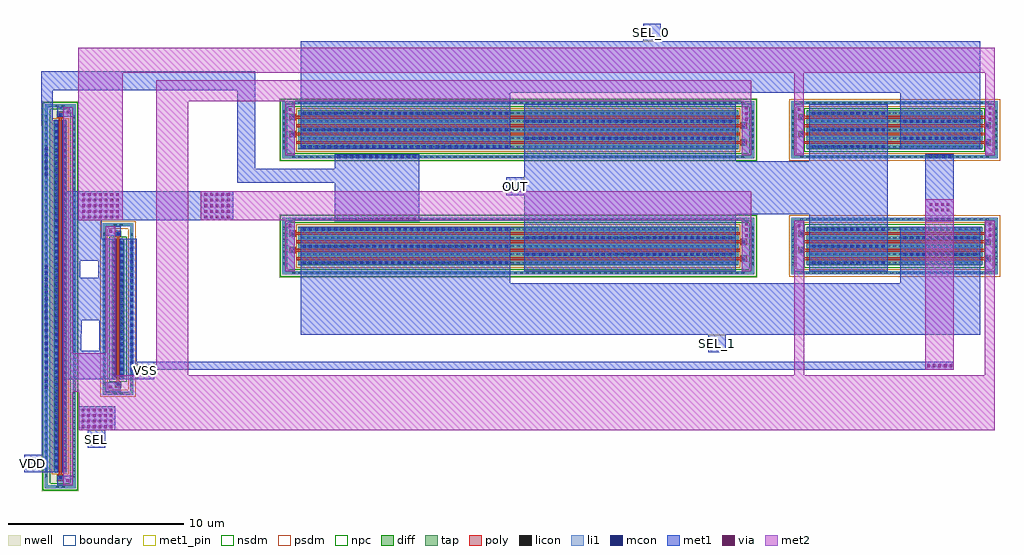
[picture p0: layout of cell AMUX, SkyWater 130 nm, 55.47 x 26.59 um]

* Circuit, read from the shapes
.subckt AMUX OUT SEL SEL_0 SEL_1 VDD VSS
XM1 VSS SEL n1 VSS sky130_fd_pr__nfet_01v8 w=8 l=0.15
XM2 SEL_1 SEL OUT VSS sky130_fd_pr__nfet_01v8 w=10 l=0.15 m=4
XM3 SEL_0 n1 OUT VSS sky130_fd_pr__nfet_01v8 w=10 l=0.15 m=4
XM4 n1 SEL VDD VDD sky130_fd_pr__pfet_01v8 w=20 l=0.15
XM5 OUT n1 SEL_1 VDD sky130_fd_pr__pfet_01v8 w=25 l=0.15 m=4
XM6 OUT SEL SEL_0 VDD sky130_fd_pr__pfet_01v8 w=25 l=0.15 m=4
.ends

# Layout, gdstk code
from math import pi, radians
import gdstk
lib = gdstk.Library(unit=1e-6, precision=1e-09)
def R(c, l, rs):  # rectangles x0, y0, x1, y1
    for r in rs: c.add(gdstk.rectangle(r[:2], r[2:], *l))
def A(c, l, x, y, w, h, nx, ny, dx, dy):  # array of equal rectangles
    R(c, l, [(x+i*dx, y+j*dy, x+i*dx+w, y+j*dy+h) for i in range(nx) for j in range(ny)])
nwell = (64, 20)
diff = (65, 20)
tap = (65, 44)
poly = (66, 20)
licon = (66, 44)
li1 = (67, 20)
mcon = (67, 44)
met1_pin = (68, 16)
met1 = (68, 20)
via = (68, 44)
met2 = (69, 20)
nsdm = (93, 44)
psdm = (94, 20)
npc = (95, 20)
boundary = (235, 4)

sky130_fd_pr__nfet_01v8_ = lib.new_cell('sky130_fd_pr__nfet_01v8_LYUGW3')
R(sky130_fd_pr__nfet_01v8_, diff, [(-1.105,-5,1.105,5)])
R(sky130_fd_pr__nfet_01v8_, tap, [(-1.615,-5.87,1.615,-5.7), (-1.615,-5.7,-1.445,5.7), (1.445,-5.7,1.615,5.7), (-1.615,5.7,1.615,5.87)])
R(sky130_fd_pr__nfet_01v8_, poly, [(-0.885,-5.44,-0.555,-5.11), (0.075,-5.44,0.405,-5.11), (-0.315,-5.13,-0.165,5.11), (0.645,-5.13,0.795,5.11), (-0.795,-5.11,-0.645,5.13), (0.165,-5.11,0.315,5.13), (-0.405,5.11,-0.075,5.44), (0.555,5.11,0.885,5.44)])
A(sky130_fd_pr__nfet_01v8_, licon, -1.105, -5.87, 0.17, 0.17, 7, 2, 0.34, 11.57)
A(sky130_fd_pr__nfet_01v8_, licon, -1.615, -5.355, 0.17, 0.17, 1, 32, 0, 0.34)
A(sky130_fd_pr__nfet_01v8_, licon, 1.445, -5.355, 0.17, 0.17, 1, 32, 0, 0.34)
A(sky130_fd_pr__nfet_01v8_, licon, -1.045, -4.845, 0.17, 0.17, 5, 29, 0.48, 0.34)
R(sky130_fd_pr__nfet_01v8_, licon, [(-0.805,-5.36,-0.635,-5.19), (0.155,-5.36,0.325,-5.19), (-0.325,5.19,-0.155,5.36), (0.635,5.19,0.805,5.36)])
A(sky130_fd_pr__nfet_01v8_, li1, -1.045, -5.02, 0.17, 10.04, 5, 1, 0.48, 0)
R(sky130_fd_pr__nfet_01v8_, li1, [(-1.615,-5.87,1.615,-5.7), (-1.615,-5.7,-1.445,5.7), (1.445,-5.7,1.615,5.7), (-0.885,-5.36,-0.555,-5.19), (0.075,-5.36,0.405,-5.19), (-0.405,5.19,-0.075,5.36), (0.555,5.19,0.885,5.36), (-1.615,5.7,1.615,5.87)])
R(sky130_fd_pr__nfet_01v8_, mcon, [(-0.805,-5.36,-0.635,-5.19), (0.155,-5.36,0.325,-5.19), (-0.325,5.19,-0.155,5.36), (0.635,5.19,0.805,5.36)])
R(sky130_fd_pr__nfet_01v8_, met1, [(-0.865,-5.39,-0.575,-5.16), (0.095,-5.39,0.385,-5.16), (-0.385,5.16,-0.095,5.39), (0.575,5.16,0.865,5.39)])
R(sky130_fd_pr__nfet_01v8_, nsdm, [(-1.23,-5.125,1.23,5.125)])
R(sky130_fd_pr__nfet_01v8_, psdm, [(-1.74,-5.995,1.74,-5.575), (-1.74,-5.575,-1.32,5.575), (1.32,-5.575,1.74,5.575), (-1.74,5.575,1.74,5.995)])
R(sky130_fd_pr__nfet_01v8_, npc, [(-0.905,-5.46,-0.535,-5.09), (0.055,-5.46,0.425,-5.09), (-0.425,5.09,-0.055,5.46), (0.535,5.09,0.905,5.46)])
R(sky130_fd_pr__nfet_01v8_, boundary, [(-1.53,-5.785,1.53,5.785)])

sky130_fd_pr__pfet_01v8_ = lib.new_cell('sky130_fd_pr__pfet_01v8_48JMJG')
R(sky130_fd_pr__pfet_01v8_, nwell, [(-1.795,-13.595,1.795,13.595)])
R(sky130_fd_pr__pfet_01v8_, diff, [(-1.105,-12.5,1.105,12.5)])
R(sky130_fd_pr__pfet_01v8_, tap, [(-1.615,-13.415,1.615,-13.245), (-1.615,-13.245,-1.445,13.245), (1.445,-13.245,1.615,13.245), (-1.615,13.245,1.615,13.415)])
R(sky130_fd_pr__pfet_01v8_, poly, [(-0.885,-12.985,-0.555,-12.655), (0.075,-12.985,0.405,-12.655), (-0.795,-12.655,-0.645,12.63), (0.165,-12.655,0.315,12.63), (-0.315,-12.63,-0.165,12.655), (0.645,-12.63,0.795,12.655), (-0.405,12.655,-0.075,12.985), (0.555,12.655,0.885,12.985)])
A(sky130_fd_pr__pfet_01v8_, licon, -1.105, -13.415, 0.17, 0.17, 7, 2, 0.34, 26.66)
A(sky130_fd_pr__pfet_01v8_, licon, -1.615, -12.835, 0.17, 0.17, 1, 76, 0, 0.34)
A(sky130_fd_pr__pfet_01v8_, licon, 1.445, -12.835, 0.17, 0.17, 1, 76, 0, 0.34)
A(sky130_fd_pr__pfet_01v8_, licon, -1.045, -12.325, 0.17, 0.17, 5, 73, 0.48, 0.34)
R(sky130_fd_pr__pfet_01v8_, licon, [(-0.805,-12.905,-0.635,-12.735), (0.155,-12.905,0.325,-12.735), (-0.325,12.735,-0.155,12.905), (0.635,12.735,0.805,12.905)])
A(sky130_fd_pr__pfet_01v8_, li1, -1.045, -12.52, 0.17, 25.04, 5, 1, 0.48, 0)
R(sky130_fd_pr__pfet_01v8_, li1, [(-1.615,-13.415,1.615,-13.245), (-1.615,-13.245,-1.445,13.245), (1.445,-13.245,1.615,13.245), (-0.885,-12.905,-0.555,-12.735), (0.075,-12.905,0.405,-12.735), (-0.405,12.735,-0.075,12.905), (0.555,12.735,0.885,12.905), (-1.615,13.245,1.615,13.415)])
R(sky130_fd_pr__pfet_01v8_, mcon, [(-0.805,-12.905,-0.635,-12.735), (0.155,-12.905,0.325,-12.735), (-0.325,12.735,-0.155,12.905), (0.635,12.735,0.805,12.905)])
R(sky130_fd_pr__pfet_01v8_, met1, [(-0.865,-12.935,-0.575,-12.705), (0.095,-12.935,0.385,-12.705), (-0.385,12.705,-0.095,12.935), (0.575,12.705,0.865,12.935)])
R(sky130_fd_pr__pfet_01v8_, nsdm, [(-1.74,-13.54,1.74,-13.12), (-1.74,-13.12,-1.32,13.12), (1.32,-13.12,1.74,13.12), (-1.74,13.12,1.74,13.54)])
R(sky130_fd_pr__pfet_01v8_, psdm, [(-1.23,-12.625,1.23,12.625)])
R(sky130_fd_pr__pfet_01v8_, npc, [(-0.905,-13.005,-0.535,-12.635), (0.055,-13.005,0.425,-12.635), (-0.425,12.635,-0.055,13.005), (0.535,12.635,0.905,13.005)])
R(sky130_fd_pr__pfet_01v8_, boundary, [(-1.53,-13.33,1.53,13.33)])

c_sky130_fd_pr__pfet_01v8_ = lib.new_cell('sky130_fd_pr__pfet_01v8_DMZPWZ')
R(c_sky130_fd_pr__pfet_01v8_, nwell, [(-1.055,-11.095,1.055,11.095)])
R(c_sky130_fd_pr__pfet_01v8_, diff, [(-0.365,-10,0.365,10)])
R(c_sky130_fd_pr__pfet_01v8_, tap, [(-0.875,-10.915,0.875,-10.745), (-0.875,-10.745,-0.705,10.745), (0.705,-10.745,0.875,10.745), (-0.875,10.745,0.875,10.915)])
R(c_sky130_fd_pr__pfet_01v8_, poly, [(-0.165,-10.485,0.165,-10.155), (-0.075,-10.155,0.075,10.155), (-0.165,10.155,0.165,10.485)])
A(c_sky130_fd_pr__pfet_01v8_, licon, -0.875, -10.285, 0.17, 0.17, 1, 61, 0, 0.34)
A(c_sky130_fd_pr__pfet_01v8_, licon, 0.705, -10.285, 0.17, 0.17, 1, 61, 0, 0.34)
A(c_sky130_fd_pr__pfet_01v8_, licon, -0.305, -9.775, 0.17, 0.17, 1, 58, 0, 0.34)
A(c_sky130_fd_pr__pfet_01v8_, licon, 0.135, -9.775, 0.17, 0.17, 1, 58, 0, 0.34)
R(c_sky130_fd_pr__pfet_01v8_, licon, [(-0.255,-10.915,-0.085,-10.745), (0.085,-10.915,0.255,-10.745), (-0.085,-10.405,0.085,-10.235), (-0.085,10.235,0.085,10.405), (-0.255,10.745,-0.085,10.915), (0.085,10.745,0.255,10.915)])
R(c_sky130_fd_pr__pfet_01v8_, li1, [(-0.875,-10.915,0.875,-10.745), (-0.875,-10.745,-0.705,10.745), (0.705,-10.745,0.875,10.745), (-0.165,-10.405,0.165,-10.235), (-0.305,-10.02,-0.135,10.02), (0.135,-10.02,0.305,10.02), (-0.165,10.235,0.165,10.405), (-0.875,10.745,0.875,10.915)])
A(c_sky130_fd_pr__pfet_01v8_, mcon, -0.305, -9.805, 0.17, 0.17, 1, 55, 0, 0.36)
A(c_sky130_fd_pr__pfet_01v8_, mcon, 0.135, -9.805, 0.17, 0.17, 1, 55, 0, 0.36)
R(c_sky130_fd_pr__pfet_01v8_, mcon, [(-0.085,-10.405,0.085,-10.235), (-0.085,10.235,0.085,10.405)])
R(c_sky130_fd_pr__pfet_01v8_, met1, [(-0.145,-10.435,0.145,-10.205), (-0.335,-10,-0.105,10), (0.105,-10,0.335,10), (-0.145,10.205,0.145,10.435)])
R(c_sky130_fd_pr__pfet_01v8_, nsdm, [(-1,-11.04,1,-10.62), (-1,-10.62,-0.58,10.62), (0.58,-10.62,1,10.62), (-1,10.62,1,11.04)])
R(c_sky130_fd_pr__pfet_01v8_, psdm, [(-0.49,-10.125,0.49,10.125)])
R(c_sky130_fd_pr__pfet_01v8_, npc, [(-0.185,-10.505,0.185,-10.135), (-0.185,10.135,0.185,10.505)])
R(c_sky130_fd_pr__pfet_01v8_, boundary, [(-0.79,-10.83,0.79,10.83)])

c_sky130_fd_pr__nfet_01v8_ = lib.new_cell('sky130_fd_pr__nfet_01v8_UT29BE')
R(c_sky130_fd_pr__nfet_01v8_, diff, [(-0.365,-4,0.365,4)])
R(c_sky130_fd_pr__nfet_01v8_, tap, [(-0.875,-4.87,0.875,-4.7), (-0.875,-4.7,-0.705,4.7), (0.705,-4.7,0.875,4.7), (-0.875,4.7,0.875,4.87)])
R(c_sky130_fd_pr__nfet_01v8_, poly, [(-0.165,-4.44,0.165,-4.11), (-0.075,-4.11,0.075,4.11), (-0.165,4.11,0.165,4.44)])
A(c_sky130_fd_pr__nfet_01v8_, licon, -0.875, -4.335, 0.17, 0.17, 1, 26, 0, 0.34)
A(c_sky130_fd_pr__nfet_01v8_, licon, 0.705, -4.335, 0.17, 0.17, 1, 26, 0, 0.34)
A(c_sky130_fd_pr__nfet_01v8_, licon, -0.305, -3.825, 0.17, 0.17, 1, 23, 0, 0.34)
A(c_sky130_fd_pr__nfet_01v8_, licon, 0.135, -3.825, 0.17, 0.17, 1, 23, 0, 0.34)
R(c_sky130_fd_pr__nfet_01v8_, licon, [(-0.255,-4.87,-0.085,-4.7), (0.085,-4.87,0.255,-4.7), (-0.085,-4.36,0.085,-4.19), (-0.085,4.19,0.085,4.36), (-0.255,4.7,-0.085,4.87), (0.085,4.7,0.255,4.87)])
R(c_sky130_fd_pr__nfet_01v8_, li1, [(-0.875,-4.87,0.875,-4.7), (-0.875,-4.7,-0.705,4.7), (0.705,-4.7,0.875,4.7), (-0.165,-4.36,0.165,-4.19), (-0.305,-4.02,-0.135,4.02), (0.135,-4.02,0.305,4.02), (-0.165,4.19,0.165,4.36), (-0.875,4.7,0.875,4.87)])
A(c_sky130_fd_pr__nfet_01v8_, mcon, -0.305, -3.865, 0.17, 0.17, 1, 22, 0, 0.36)
A(c_sky130_fd_pr__nfet_01v8_, mcon, 0.135, -3.865, 0.17, 0.17, 1, 22, 0, 0.36)
R(c_sky130_fd_pr__nfet_01v8_, mcon, [(-0.085,-4.36,0.085,-4.19), (-0.085,4.19,0.085,4.36)])
R(c_sky130_fd_pr__nfet_01v8_, met1, [(-0.145,-4.39,0.145,-4.16), (-0.335,-4,-0.105,4), (0.105,-4,0.335,4), (-0.145,4.16,0.145,4.39)])
R(c_sky130_fd_pr__nfet_01v8_, nsdm, [(-0.49,-4.125,0.49,4.125)])
R(c_sky130_fd_pr__nfet_01v8_, psdm, [(-1,-4.995,1,-4.575), (-1,-4.575,-0.58,4.575), (0.58,-4.575,1,4.575), (-1,4.575,1,4.995)])
R(c_sky130_fd_pr__nfet_01v8_, npc, [(-0.185,-4.46,0.185,-4.09), (-0.185,4.09,0.185,4.46)])
R(c_sky130_fd_pr__nfet_01v8_, boundary, [(-0.79,-4.785,0.79,4.785)])

amux = lib.new_cell('AMUX')
A(amux, li1, 21.14, 1.05, 11.84, 0.17, 1, 3, 0, 0.96)
A(amux, li1, 50.03, 1.05, 4.42, 0.17, 1, 3, 0, 0.96)
A(amux, li1, 21.14, 7.65, 11.84, 0.17, 1, 3, 0, 0.96)
A(amux, li1, 50.03, 7.65, 4.42, 0.17, 1, 3, 0, 0.96)
R(amux, li1, [(6.57,-6.14,6.74,1.1), (11.43,-5.4,11.6,2.38), (33.83,1.53,45.67,1.7), (55.22,1.53,59.64,1.7), (33.83,2.49,45.67,2.66), (55.22,2.49,59.64,2.66), (23.16,3.54,27.65,3.71), (56.71,3.54,58.12,3.71), (6.57,6.01,6.74,7.81), (23.07,7.08,27.81,7.25), (56.74,7.08,58.15,7.25), (33.83,8.13,45.67,8.3), (55.22,8.13,59.64,8.3), (33.83,9.09,45.67,9.26), (55.22,9.09,59.64,9.26)])
A(amux, mcon, 6.57, -6.025, 0.17, 0.17, 1, 20, 0, 0.36)
A(amux, mcon, 11.43, -5.375, 0.17, 0.17, 1, 22, 0, 0.36)
A(amux, mcon, 21.215, 1.05, 0.17, 0.17, 33, 3, 0.36, 0.96)
A(amux, mcon, 50.175, 1.05, 0.17, 0.17, 12, 3, 0.36, 0.96)
A(amux, mcon, 33.905, 1.53, 0.17, 0.17, 33, 2, 0.36, 0.96)
A(amux, mcon, 55.365, 1.53, 0.17, 0.17, 12, 2, 0.36, 0.96)
A(amux, mcon, 23.16, 3.54, 0.17, 0.17, 13, 1, 0.36, 0)
A(amux, mcon, 56.79, 3.54, 0.17, 0.17, 4, 1, 0.36, 0)
A(amux, mcon, 6.57, 6.105, 0.17, 0.17, 1, 5, 0, 0.36)
A(amux, mcon, 23.195, 7.08, 0.17, 0.17, 13, 1, 0.36, 0)
A(amux, mcon, 56.82, 7.08, 0.17, 0.17, 4, 1, 0.36, 0)
A(amux, mcon, 21.215, 7.65, 0.17, 0.17, 33, 3, 0.36, 0.96)
A(amux, mcon, 50.175, 7.65, 0.17, 0.17, 12, 3, 0.36, 0.96)
A(amux, mcon, 33.905, 8.13, 0.17, 0.17, 33, 2, 0.36, 0.96)
A(amux, mcon, 55.365, 8.13, 0.17, 0.17, 12, 2, 0.36, 0.96)
R(amux, met1_pin, [(5.38,-10.76,6.38,-9.76), (9.01,-9.38,10.01,-8.38), (11.78,-5.49,12.78,-4.49), (44.27,-3.95,45.27,-2.95), (32.8,4.99,33.8,5.99), (40.57,13.74,41.57,14.74)])
R(amux, met1, [(7.28,-11.5,8.15,-10.96), (5.38,-10.76,7.11,-9.76), (6.38,-9.76,7.11,8.92), (9.01,-9.38,10.01,-8.38), (8.49,-8.38,10.57,-7.02), (10.02,-6.19,10.89,-5.65), (7.55,-5.49,10.62,-3.86), (10.83,-5.49,12.78,-4.93), (10.83,-4.93,58.24,-4.49), (10.83,-4.49,11.78,2.51), (44.27,-3.95,45.27,-2.95), (7.55,-3.86,8.64,-2.88), (9.66,-3.86,10.62,-3.09), (9.67,-3.09,10.62,-2.11), (21.11,-2.95,59.72,-0.03), (7.55,-2.88,8.65,-2.11), (7.55,-2.11,10.62,0.29), (21.11,-0.03,33.01,3.2), (55.19,-0.03,59.72,3.2), (7.55,0.29,8.58,1.27), (9.6,0.29,10.62,1.27), (20.23,0.65,20.77,3.54), (33.8,0.65,45.84,3.89), (46.18,0.65,46.73,3.54), (49.16,0.65,49.71,3.54), (50,0.65,54.48,3.89), (60.01,0.65,60.56,3.54), (7.55,1.27,10.62,2.51), (7.7,2.51,9.79,3.56), (10.02,2.67,10.89,3.21), (23.04,3.49,27.84,5.69), (56.61,3.49,58.24,7.31), (7.7,3.56,17.28,5.21), (33.8,3.89,54.48,4.99), (32.8,4.99,54.48,5.99), (17.51,5.69,27.84,6.49), (33.8,5.99,54.48,6.9), (17.51,6.49,18.51,10.96), (23.04,6.49,27.84,7.31), (33.8,6.9,45.84,10.14), (50,6.9,54.48,10.14), (20.23,7.25,20.78,10.14), (46.17,7.25,46.72,10.14), (49.16,7.25,49.71,10.14), (60.01,7.25,60.56,10.14), (21.11,7.59,33.01,10.82), (55.19,7.59,59.72,10.49), (6.37,8.92,7.11,9.24), (6.37,9.24,7,10.96), (7.27,9.44,8.14,9.98), (55.19,10.49,59.73,10.82), (21.11,10.82,59.73,13.74), (6.37,10.96,18.51,12.04), (40.57,13.74,41.57,14.74)])
A(amux, via, 8.655, -8.255, 0.15, 0.15, 6, 4, 0.32, 0.32)
A(amux, via, 56.71, -4.785, 0.15, 0.15, 5, 1, 0.32, 0)
A(amux, via, 46.375, 2.625, 0.15, 0.15, 1, 3, 0, 0.32)
A(amux, via, 60.205, 2.625, 0.15, 0.15, 1, 3, 0, 0.32)
A(amux, via, 8.695, 3.67, 0.15, 0.15, 7, 5, 0.32, 0.32)
A(amux, via, 15.635, 3.67, 0.15, 0.15, 5, 5, 0.32, 0.32)
A(amux, via, 56.865, 4.065, 0.15, 0.15, 4, 2, 0.32, 0.32)
A(amux, via, 46.365, 9.225, 0.15, 0.15, 1, 3, 0, 0.32)
A(amux, via, 60.215, 9.225, 0.15, 0.15, 1, 3, 0, 0.32)
R(amux, via, [(7.79,-11.31,7.94,-11.16), (10.21,-6,10.36,-5.85), (10.22,2.86,10.37,3.01), (20.42,3.17,20.57,3.32), (49.35,3.17,49.5,3.32), (7.8,9.63,7.95,9.78), (20.42,9.77,20.57,9.92), (49.35,9.77,49.5,9.92)])
R(amux, met2, [(7.6,-11.5,8.15,-6.19), (10.37,-8.39,60.56,-8.38), (8.49,-8.38,60.56,-6.19), (7.6,-6.19,60.56,-5.26), (7.6,-5.26,10.57,-4.01), (12.89,-5.26,14.73,10.31), (49.16,-5.26,49.72,3.54), (60,-5.26,60.56,3.54), (56.61,-4.93,58.24,4.74), (7.6,-4.01,8.15,9.99), (10.02,-4.01,10.57,3.21), (20.23,0.65,20.77,3.56), (46.18,0.65,46.72,3.56), (8.46,3.56,11,11.95), (15.42,3.56,46.72,5.21), (20.23,7.25,20.78,10.31), (46.17,7.25,46.72,10.31), (49.16,7.25,49.7,11.95), (60.02,7.25,60.56,11.95), (12.89,10.31,46.72,11.52), (15.25,11.52,46.72,11.53), (8.46,11.95,60.56,13.36)])
amux.add(gdstk.Reference(sky130_fd_pr__nfet_01v8_, (54.86,2.095), rotation=3*pi/2))
amux.add(gdstk.Reference(sky130_fd_pr__pfet_01v8_, (33.475,8.695), rotation=3*pi/2))
amux.add(gdstk.Reference(sky130_fd_pr__pfet_01v8_, (33.475,2.095), rotation=3*pi/2))
amux.add(gdstk.Reference(c_sky130_fd_pr__pfet_01v8_, (7.44,-0.76)))
amux.add(gdstk.Reference(c_sky130_fd_pr__nfet_01v8_, (10.725,-1.49)))
amux.add(gdstk.Reference(sky130_fd_pr__nfet_01v8_, (54.86,8.695), rotation=3*pi/2))
amux.add(gdstk.Label('SEL', (9.51,-8.88), layer=68, texttype=5))
amux.add(gdstk.Label('VDD', (5.88,-10.26), layer=68, texttype=5))
amux.add(gdstk.Label('SEL_1', (44.77,-3.45), layer=68, texttype=5))
amux.add(gdstk.Label('VSS', (12.28,-4.99), layer=68, texttype=5))
amux.add(gdstk.Label('SEL_0', (41.07,14.24), layer=68, texttype=5))
amux.add(gdstk.Label('OUT', (33.3,5.49), layer=68, texttype=5))

lib.write_gds('AMUX.gds')
